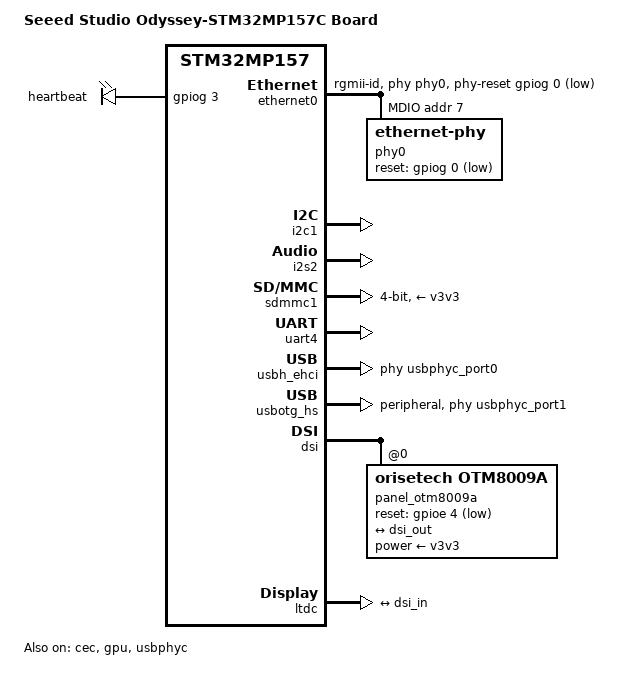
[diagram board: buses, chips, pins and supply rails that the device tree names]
// u-boot/arch/arm/dts/stm32mp157c-odyssey.dts
// SPDX-License-Identifier: (GPL-2.0+ OR BSD-3-Clause)
/*
 * Copyright (C) 2020 Marcin Sloniewski <marcin.sloniewski@gmail.com>
 */

/dts-v1/;

#include "stm32mp157c-odyssey-som.dtsi"

/ {

	model = "Seeed Studio Odyssey-STM32MP157C Board";
	compatible = "seeed,stm32mp157c-odyssey", "st,stm32mp157";

	aliases {
		ethernet0 = &ethernet0;
		serial0 = &uart4;
	};

	chosen {
		stdout-path = "serial0:115200n8";
	};

	led {
		compatible = "gpio-leds";
		blue {
			label = "heartbeat";
			gpios = <&gpiog 3 GPIO_ACTIVE_HIGH>;
			linux,default-trigger = "heartbeat";
			default-state = "off";
		};
	};

	firmware {
		optee: optee {
			compatible = "linaro,optee-tz";
			method = "smc";
		};

		scmi: scmi {
			compatible = "linaro,scmi-optee";
			#address-cells = <1>;
			#size-cells = <0>;
			linaro,optee-channel-id = <0>;

			scmi_clk: protocol@14 {
				reg = <0x14>;
				#clock-cells = <1>;
			};

			scmi_reset: protocol@16 {
				reg = <0x16>;
				#reset-cells = <1>;
			};
		};
	};
};

&adc {
	pinctrl-names = "default";
	pinctrl-0 = <&adc12_ain_pins_a>, <&adc12_usb_cc_pins_a>;
	vdd-supply = <&vdd>;
	vdda-supply = <&vdd>;
	vref-supply = <&vrefbuf>;
	status = "disabled";
	adc1: adc@0 {
		/*
		 * Type-C USB_PWR_CC1 & USB_PWR_CC2 on in18 & in19.
		 * Use at least 5 * RC time, e.g. 5 * (Rp + Rd) * C:
		 * 5 * (56 + 47kOhms) * 5pF => 2.5us.
		 * Use arbitrary margin here (e.g. 5us).
		 */
		st,min-sample-time-nsecs = <5000>;
		/* AIN connector, USB Type-C CC1 & CC2 */
		st,adc-channels = <0 1 6 13 18 19>;
		status = "okay";
	};
	adc2: adc@100 {
		/* AIN connector, USB Type-C CC1 & CC2 */
		st,adc-channels = <0 1 2 6 18 19>;
		st,min-sample-time-nsecs = <5000>;
		status = "okay";
	};
};

&cec {
	pinctrl-names = "default", "sleep";
	pinctrl-0 = <&cec_pins_b>;
	pinctrl-1 = <&cec_sleep_pins_b>;
	status = "okay";
};

&ethernet0 {
	status = "okay";
	pinctrl-0 = <&ethernet0_rgmii_pins_a>;
	pinctrl-1 = <&ethernet0_rgmii_sleep_pins_a>;
	pinctrl-names = "default", "sleep";
	phy-mode = "rgmii-id";
	max-speed = <1000>;
	phy-handle = <&phy0>;
	st,eth-clk-sel;
	phy-reset-gpios = <&gpiog 0 GPIO_ACTIVE_LOW>;

	mdio0 {
		status = "okay";
		#address-cells = <1>;
		#size-cells = <0>;
		compatible = "snps,dwmac-mdio";

		phy0: ethernet-phy@7 {
			reg = <7>;
			reset-gpios = <&gpiog 0 GPIO_ACTIVE_LOW>;
			reset-assert-us = <11000>;
			reset-deassert-us = <1000>;
		};
	};
};

&gpu {
	contiguous-area = <&gpu_reserved>;
	status = "okay";
};

&i2c1 {
	pinctrl-names = "default", "sleep";
	pinctrl-0 = <&i2c1_pins_a>;
	pinctrl-1 = <&i2c1_sleep_pins_a>;
	i2c-scl-rising-time-ns = <100>;
	i2c-scl-falling-time-ns = <7>;
	status = "okay";
	/delete-property/dmas;
	/delete-property/dma-names;
};

&i2s2 {
	clocks = <&rcc SPI2>, <&rcc SPI2_K>, <&rcc PLL3_Q>, <&rcc PLL3_R>;
	clock-names = "pclk", "i2sclk", "x8k", "x11k";
	pinctrl-names = "default", "sleep";
	pinctrl-0 = <&i2s2_pins_a>;
	pinctrl-1 = <&i2s2_sleep_pins_a>;
	status = "okay";
};

&pwr_regulators {
	vdd-supply = <&vdd>;
	vdd_3v3_usbfs-supply = <&vdd_usb>;
};

&sdmmc1 {
	pinctrl-names = "default", "opendrain", "sleep";
	pinctrl-0 = <&sdmmc1_b4_pins_a>;
	pinctrl-1 = <&sdmmc1_b4_od_pins_a>;
	pinctrl-2 = <&sdmmc1_b4_sleep_pins_a>;
	broken-cd;
	disable-wp;
	st,neg-edge;
	bus-width = <4>;
	vmmc-supply = <&v3v3>;
	status = "okay";
};

&uart4 {
	pinctrl-names = "default";
	pinctrl-0 = <&uart4_pins_a>;
	/delete-property/dmas;
	/delete-property/dma-names;
	status = "okay";
};

&usbh_ehci {
	phys = <&usbphyc_port0>;
	status = "okay";
};

&usbotg_hs {
	dr_mode = "peripheral";
	phys = <&usbphyc_port1 0>;
	phy-names = "usb2-phy";
	status = "okay";
};

&usbphyc {
	status = "okay";
};

&usbphyc_port0 {
	phy-supply = <&vdd_usb>;
};

&usbphyc_port1 {
	phy-supply = <&vdd_usb>;
};

&dsi {
	#address-cells = <1>;
	#size-cells = <0>;
	status = "okay";

	panel_otm8009a: panel-otm8009a@0 {
		compatible = "orisetech,otm8009a";
		reg = <0>;
		reset-gpios = <&gpioe 4 GPIO_ACTIVE_LOW>;
		power-supply = <&v3v3>;
		default-on;
		status = "okay";

		port {
			panel_in: endpoint {
				remote-endpoint = <&dsi_out>;
			};
		};
	};
};

&dsi_in {
	remote-endpoint = <&ltdc_ep0_out>;
};

&dsi_out {
	remote-endpoint = <&panel_in>;
};

&ltdc {
	default-on;
	status = "okay";

	port {
		#address-cells = <1>;
		#size-cells = <0>;

		ltdc_ep0_out: endpoint {
			remote-endpoint = <&dsi_in>;
		};
	};
};
